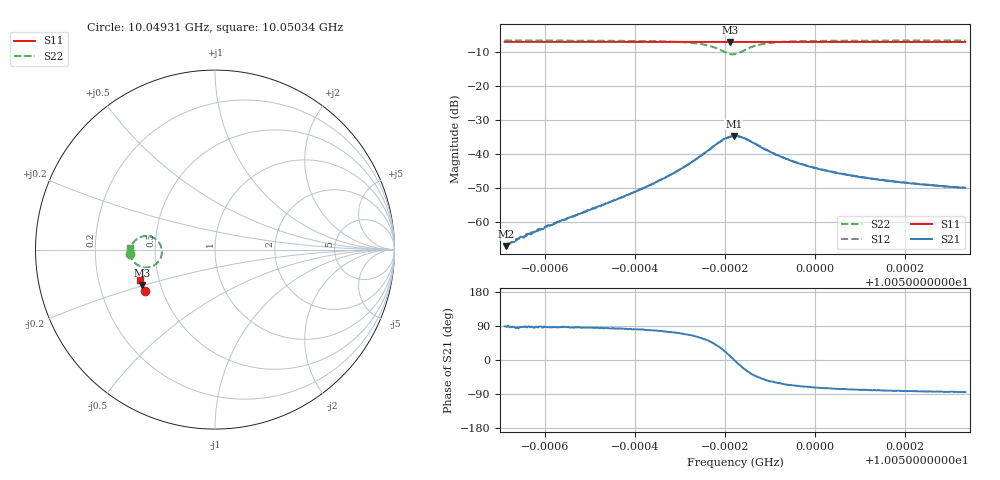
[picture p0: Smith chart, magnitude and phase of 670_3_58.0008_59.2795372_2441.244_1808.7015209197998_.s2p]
#  HZ  S  RI  R  50.00
! Rohde & Schwarz Vector Network Analyzer
! Rohde-Schwarz,ZNB20-2Port,1311601062101988,3.16
! Created: UTC 3/21/2024, 1:20:20 AM
! freq[Hz]  re:S11  im:S11  re:S21  im:S21  re:S12  im:S12  re:S22  im:S22
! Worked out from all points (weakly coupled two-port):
!   401 points, 10.04931 GHz to 10.05034 GHz, reference 50 ohm
!   highest |S21| = -34.58 dB at 10.04982 GHz (marker M1); lowest = -67.1 dB at 10.04931 GHz (marker M2)
!   lowest |S11| = -6.9 dB at 10.04981 GHz (marker M3), VSWR 2.65, Z = 19.8 - j9.87 ohm
!   |S11| at or under -10 dB: nowhere
!   |S22| runs from -10.6 to -6.5 dB; largest |S21 - S12| = 0.0016
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1.0049311e10  -0.3925 -0.2292  8.65e-06 0.000462  -1.74e-05 0.000455  -0.474 -0.0248
1.0049314e10  -0.3924 -0.2288  1.1e-05 0.000443  -5.87e-06 0.00046  -0.474 -0.0246
1.0049334e10  -0.393 -0.2278  3.32e-05 0.000524  -2.54e-06 0.000556  -0.4739 -0.0226
1.0049344e10  -0.3933 -0.227  3.37e-05 0.000592  -1.65e-05 0.000572  -0.474 -0.0215
1.0049403e10  -0.3954 -0.2236  4.99e-05 0.000846  -4.76e-05 0.000871  -0.4735 -0.015
1.0049483e10  -0.3977 -0.2189  0.000121 0.00135  1.38e-06 0.00136  -0.4722 -0.00489
1.0049572e10  -0.4005 -0.2135  0.000294 0.00231  0.000183 0.00233  -0.4691 0.0099
1.0049654e10  -0.4027 -0.2085  0.00095 0.00397  0.000705 0.00404  -0.4605 0.0302
1.0049703e10  -0.4041 -0.2054  0.00209 0.00575  0.00172 0.00584  -0.4468 0.0485
1.0049752e10  -0.4051 -0.2023  0.00554 0.00832  0.00491 0.00861  -0.4104 0.0713
1.0049787e10  -0.4055 -0.1999  0.0122 0.00864  0.0116 0.00935  -0.3461 0.0673
1.0049813e10  -0.4052 -0.1987  0.018 0.00292  0.0177 0.00432  -0.2983 0.00923
1.0049821e10  -0.4053 -0.1987  0.0187 0.000243  0.0185 0.00186  -0.2961 -0.0175
1.0049823e10  -0.4054 -0.1985  0.0185 -0.000727  0.0185 0.000754  -0.297 -0.0263
1.0049836e10  -0.406 -0.1984  0.0173 -0.00495  0.0178 -0.00368  -0.3141 -0.0654
1.0049851e10  -0.4066 -0.1979  0.0141 -0.00823  0.0149 -0.00718  -0.3486 -0.0925
1.0049887e10  -0.4082 -0.196  0.0076 -0.00934  0.00834 -0.00898  -0.4139 -0.0943
1.0049938e10  -0.41 -0.1928  0.00361 -0.0077  0.00417 -0.0075  -0.4511 -0.0685
1.0049995e10  -0.4117 -0.1891  0.002 -0.0061  0.0024 -0.00604  -0.4646 -0.0472
1.0050077e10  -0.4138 -0.1841  0.00106 -0.00482  0.0014 -0.00477  -0.4715 -0.0277
1.0050166e10  -0.4161 -0.1786  0.000643 -0.00397  0.000905 -0.00396  -0.474 -0.0135
1.0050335e10  -0.4201 -0.1682  0.0003 -0.00319  0.000461 -0.00319  -0.4755 0.0062
